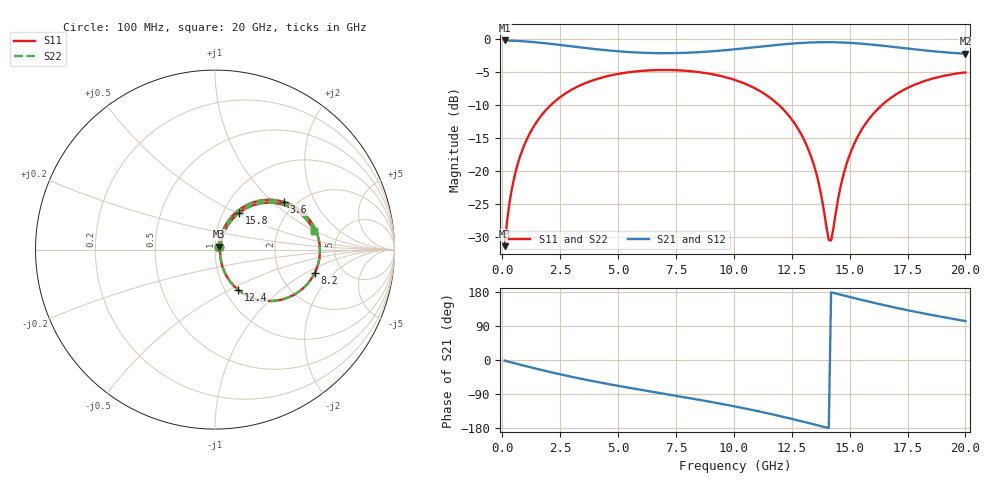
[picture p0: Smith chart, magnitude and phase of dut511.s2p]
! Touchstone file exported from HFSS 2026.1.0
!  File:  C:/ffzhzh/LocalFiles/Ansys_Project_Files/temp_train_TSV_RDL_511_1783108966_35180.aedt
!  Generated:  04:13:31 AM Jul  4, 2026
!  Design:  TSV_RDL
!  Project:  temp_train_TSV_RDL_511_1783108966_35180
! Variables:
!  h_bsmrdl = 4.53um
!  h_ox = 20um
!  h_rdl = 5um
!  h_sub = 64.01um
!  h_tmrdl = 4.57um
!  h_tsv = 64.01um
!  h_via = 3um
!  l_bsmrdl = 656.6um
!  l_sub = 4456.8um
!  l_tmrdl = 496.91um
!  m_sub = 200um
!  pitch = 46.38um
!  r_tsv = 8.55um
!  s_tmrdl = 10um
!  w_bsmrdl = 13.2um
!  w_sub = 500um
!  w_tmrdl = 19.92um
!  x_tsv_center1 = 506.87um
!  x_tsv_center2 = 1176.67um
!  x_tsv_center3 = 1693.5um
!  x_tsv_center4 = 2363.3um
!  x_tsv_center5 = 2880.13um
!  x_tsv_center6 = 3549.93um
# GHz S MA R 50.000000
! Terminal data exported
! Port[1] = TM_RDL1_1_T1
! Port[2] = TM_RDL5_1_T1
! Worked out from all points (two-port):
!   200 points, 100 MHz to 20 GHz, reference 50 ohm
!   highest |S21| = -0.18 dB at 100 MHz (marker M1); lowest = -2.2 dB at 20 GHz (marker M2)
!   |S21| within 3 dB of the highest: start of sweep to end of sweep
!   lowest |S11| = -31.4 dB at 100 MHz (marker M3), VSWR 1.06, Z = 52.1 + j1.78 ohm
!   |S11| at or under -10 dB: start of sweep to 2.089 GHz; 11.95 GHz to 16.39 GHz (4.439 GHz wide, 31.3 % of centre)
!   |S22| runs from -31.4 to -4.7 dB; largest |S21 - S12| = 3.3e-14
!   S11 on the Smith chart (normalised r, x): 100 MHz: 1.04, +0.04; 3.6 GHz: 1.73, +1.18; 8.2 GHz: 3.16, -1.21; 12.4 GHz: 1.16, -0.56; 15.8 GHz: 1.19, +0.51; 20 GHz: 3.22, +0.99
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0.1  0.027 39.1  0.9794 -1.7  0.9794 -1.7  0.027 39.1
! Gamma 0 0 0 0
! Port Impedance 50 0 50 0
0.3  0.05585 62.3  0.977 -4.9  0.977 -4.9  0.05585 62.3
0.5  0.08722 67.0  0.9739 -8.1  0.9739 -8.1  0.08722 67.0
1.1  0.1803 64.9  0.9599 -17.4  0.9599 -17.4  0.1803 64.9
2.1  0.3176 53.2  0.9229 -32.2  0.9229 -32.2  0.3176 53.2
3.5  0.4583 36.0  0.8621 -50.8  0.8621 -50.8  0.4583 36.0
3.6  0.4661 34.8  0.858 -52.0  0.858 -52.0  0.4661 34.8
5.2  0.5537 17.2  0.8058 -70.4  0.8058 -70.4  0.5537 17.2
6.8  0.5844 1.0  0.7846 -87.2  0.7846 -87.2  0.5844 1.0
8.2  0.5711 -13.0  0.7932 -101.9  0.7932 -101.9  0.5711 -13.0
10.1  0.4877 -33.2  0.8414 -123.2  0.8414 -123.2  0.4877 -33.2
12.4  0.2601 -59.9  0.9242 -153.9  0.9242 -153.9  0.2601 -59.9
13.4  0.1197 -66.9  0.9466 -168.9  0.9466 -168.9  0.1197 -66.9
13.7  0.07605 -63.0  0.9495 -173.5  0.9495 -173.5  0.07607 -63.0
14.1  0.0301 -17.5  0.9503 -179.7  0.9503 -179.7  0.03023 -17.4
14.2  0.02981 11.1  0.95 178.7  0.95 178.7  0.02996 11.1
14.8  0.1036 61.9  0.9431 169.4  0.9431 169.4  0.1037 61.8
15.2  0.1613 61.8  0.9344 163.4  0.9344 163.4  0.1614 61.8
15.8  0.2436 56.7  0.9165 154.5  0.9165 154.5  0.2436 56.7
16.7  0.3509 46.6  0.8826 141.9  0.8826 141.9  0.3509 46.5
18.2  0.4799 29.5  0.8246 122.8  0.8246 122.8  0.4799 29.5
20  0.5608 10.8  0.7772 102.7  0.7772 102.7  0.5608 10.7
